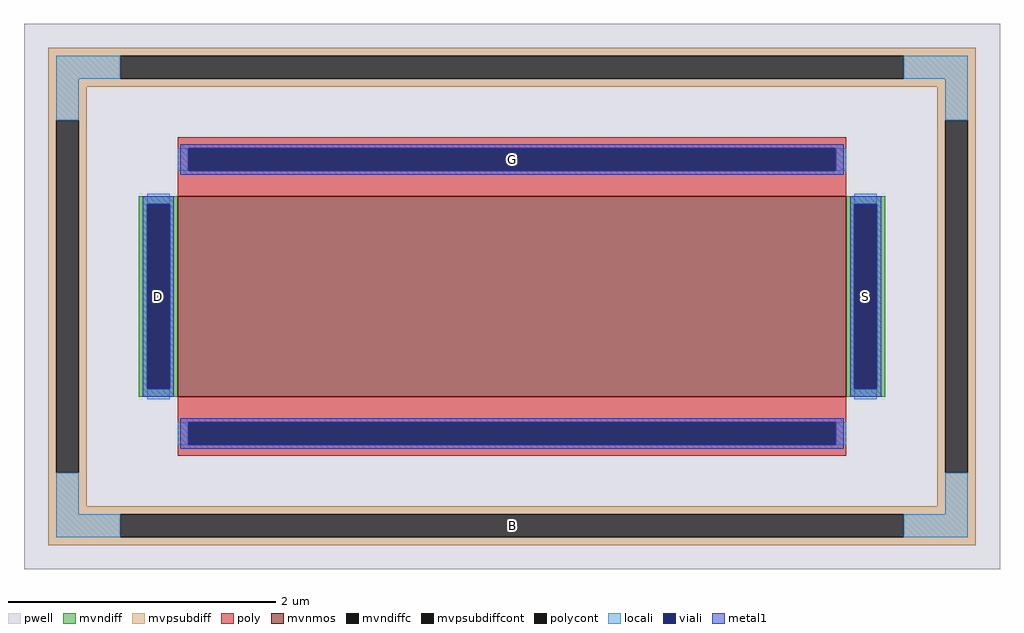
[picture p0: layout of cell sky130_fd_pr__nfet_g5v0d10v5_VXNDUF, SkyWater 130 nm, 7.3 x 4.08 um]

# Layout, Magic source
magic
tech sky130A
magscale 1 2
<< pwell >>
rect -730 -408 730 408
<< mvnmos >>
rect -500 -150 500 150
<< mvndiff >>
rect -558 138 -500 150
rect -558 -138 -546 138
rect -512 -138 -500 138
rect -558 -150 -500 -138
rect 500 138 558 150
rect 500 -138 512 138
rect 546 -138 558 138
rect 500 -150 558 -138
<< mvndiffc >>
rect -546 -138 -512 138
rect 512 -138 546 138
<< mvpsubdiff >>
rect -694 360 694 372
rect -694 326 -586 360
rect 586 326 694 360
rect -694 314 694 326
rect -694 264 -636 314
rect -694 -264 -682 264
rect -648 -264 -636 264
rect 636 264 694 314
rect -694 -314 -636 -264
rect 636 -264 648 264
rect 682 -264 694 264
rect 636 -314 694 -264
rect -694 -326 694 -314
rect -694 -360 -586 -326
rect 586 -360 694 -326
rect -694 -372 694 -360
<< mvpsubdiffcont >>
rect -586 326 586 360
rect -682 -264 -648 264
rect 648 -264 682 264
rect -586 -360 586 -326
<< poly >>
rect -500 222 500 238
rect -500 188 -484 222
rect 484 188 500 222
rect -500 150 500 188
rect -500 -188 500 -150
rect -500 -222 -484 -188
rect 484 -222 500 -188
rect -500 -238 500 -222
<< polycont >>
rect -484 188 484 222
rect -484 -222 484 -188
<< locali >>
rect -682 326 -586 360
rect 586 326 682 360
rect -682 264 -648 326
rect 648 264 682 326
rect -500 188 -484 222
rect 484 188 500 222
rect -546 138 -512 154
rect -546 -154 -512 -138
rect 512 138 546 154
rect 512 -154 546 -138
rect -500 -222 -484 -188
rect 484 -222 500 -188
rect -682 -326 -648 -264
rect 648 -326 682 -264
rect -682 -360 -586 -326
rect 586 -360 682 -326
<< viali >>
rect -484 188 484 222
rect -546 -138 -512 138
rect 512 -138 546 138
rect -484 -222 484 -188
<< metal1 >>
rect -496 222 496 228
rect -496 188 -484 222
rect 484 188 496 222
rect -496 182 496 188
rect -552 138 -506 150
rect -552 -138 -546 138
rect -512 -138 -506 138
rect -552 -150 -506 -138
rect 506 138 552 150
rect 506 -138 512 138
rect 546 -138 552 138
rect 506 -150 552 -138
rect -496 -188 496 -182
rect -496 -222 -484 -188
rect 484 -222 496 -188
rect -496 -228 496 -222
<< labels >>
rlabel mvpsubdiffcont 0 -343 0 -343 0 B
port 9 nsew
rlabel mvndiffc -529 0 -529 0 0 D
port 10 nsew
rlabel mvndiffc 529 0 529 0 0 S
port 11 nsew
rlabel polycont 0 205 0 205 0 G
port 12 nsew
<< properties >>
string FIXED_BBOX -665 -343 665 343
string gencell sky130_fd_pr__nfet_g5v0d10v5
string library sky130
string parameters w 1.5 l 5 m 1 nf 1 diffcov 100 polycov 100 guard 1 glc 1 grc 1 gtc 1 gbc 1 tbcov 100 rlcov 100 topc 1 botc 1 poverlap 0 doverlap 1 lmin 0.50 wmin 0.42 class mosfet compatible {sky130_fd_pr__nfet_01v8 sky130_fd_pr__nfet_01v8_lvt  sky130_fd_bs_flash__special_sonosfet_star  sky130_fd_pr__nfet_g5v0d10v5 sky130_fd_pr__nfet_05v0_nvt  sky130_fd_pr__nfet_03v3_nvt} full_metal 1 conn_gates 0 viasrc 100 viadrn 100 viagate 100 viagb 0 viagr 0 viagl 0 viagt 0 doports 1
<< end >>
